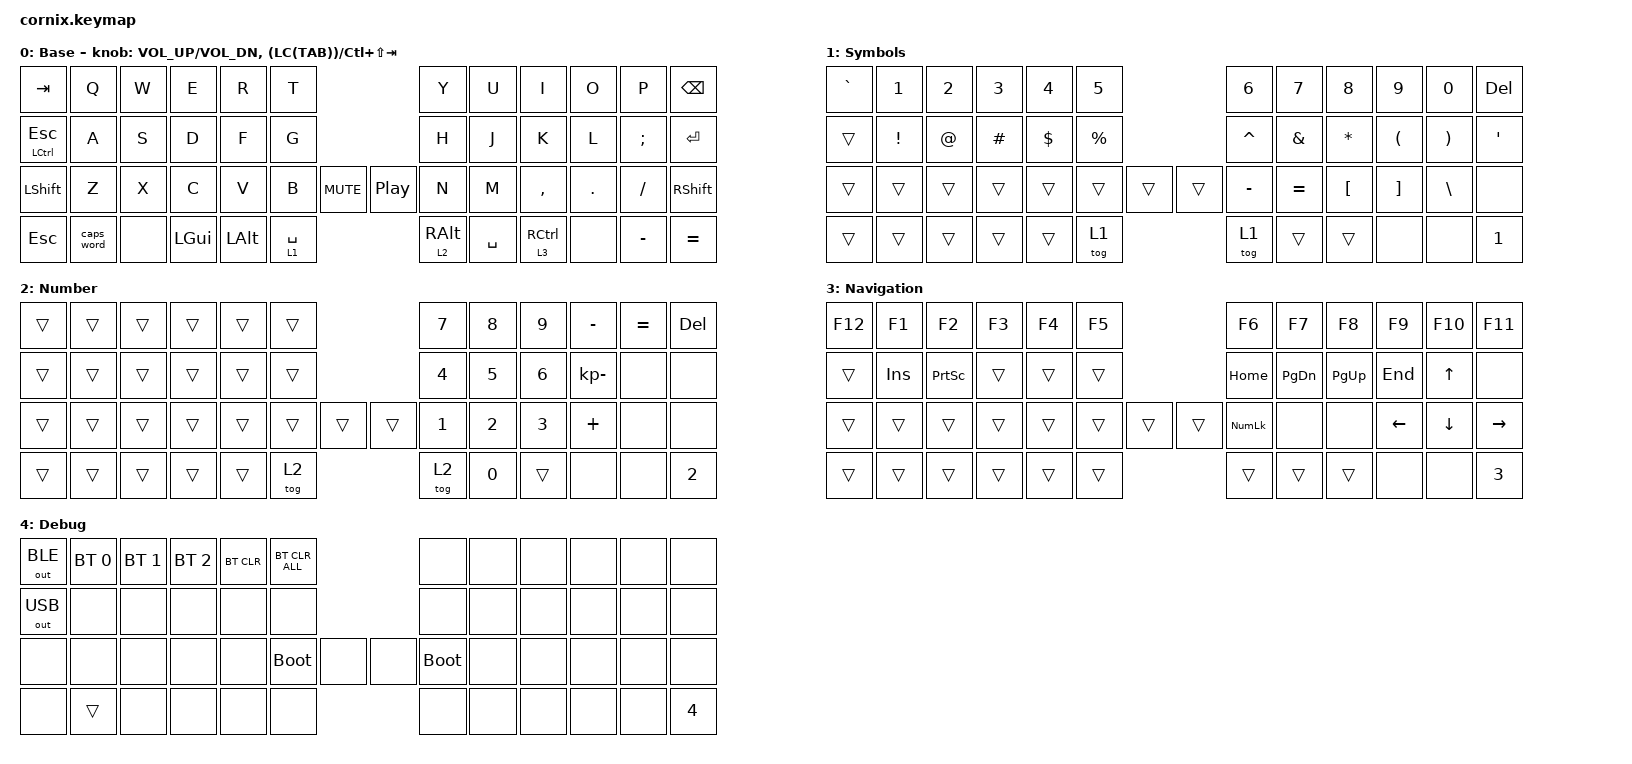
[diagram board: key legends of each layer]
/*
 * Copyright (c) 2020 The ZMK Contributors
 *
 * SPDX-License-Identifier: MIT
 */

#include <behaviors.dtsi>
#include <dt-bindings/zmk/bt.h>
#include <dt-bindings/zmk/keys.h>
#include <dt-bindings/zmk/outputs.h>

#define MO_TOG(layer) &mo_tog layer layer   // Macro to apply momentary-layer-on-hold/toggle-layer-on-tap to a specific layer

#define BASE  0
#define SYM   1
#define NUM   2
#define NAV   3
#define DEBUG 4
#define RES1  5
#define RES2  6
#define RES3  7

&lt { flavor = "hold-preferred"; };

/ {
    behaviors {
        mo_tog: behavior_mo_tog {
            compatible = "zmk,behavior-hold-tap";
            #binding-cells = <2>;
            flavor = "hold-preferred";
            tapping-term-ms = <200>;
            bindings = <&mo>, <&tog>;
        };
    };

    conditional_layers { compatible = "zmk,conditional-layers"; };

    combos {
        compatible = "zmk,combos";

        // < 0  1  2  3  4  5        6  7  8  9 10 11>
        // <12 13 14 15 16 17       18 19 20 21 22 23>
        // <24 25 26 27 28 29 30 31 32 33 34 35 36 37>
        // <38 39 40 41 42 43       44 45 46 47 48 49>

        // Regular key combos
        right_b {
            bindings = <&kp B>;
            key-positions = <32 33>;
        };

        capslock_combo {
            bindings = <&kp CAPSLOCK>;
            key-positions = <24 37>;
            layers = <BASE>;
        };

        // Layer modification
        to_base {
            bindings = <&to BASE>;
            key-positions = <16 19>;
        };

        to_nav {
            bindings = <&mo NAV>;
            key-positions = <44 43>;
        };

        to_debug {
            bindings = <&to DEBUG>;
            key-positions = <17 18>;
            layers = <NAV>;
        };
    };

    macros {
    };

    keymap {
        compatible = "zmk,keymap";

        default_layer {
            display-name = "Base";

            // ------------------------------------------------------------------------------------------------------------
            // |  TAB  |  Q  |  W  |  E  |  R  |  T  |                   |  Y   |  U  |  I  |  O  |   P   | BKSPC |
            // | LCTRL |  A  |  S  |  D  |  F  |  G  |                   |  H   |  J  |  K  |  L  |   ;   | ENTER |
            // | SHIFT |  Z  |  X  |  C  |  V  |  B  |  MUTE  |  | PAUSE |  N   |  M  |  ,  |  .  |   /   | SHIFT |
            // |  ESC  |  _  |  _  |=====|  _  |  _  |  LT(1) |  | LT(2) |  _   |  _  |=====|  _  |   _   |   _   |

            bindings = <
&kp TAB         &kp Q       &kp W  &kp E     &kp R     &kp T                                      &kp Y            &kp U      &kp I        &kp O    &kp P      &kp BACKSPACE
&mt LCTRL ESC   &kp A       &kp S  &kp D     &kp F     &kp G                                      &kp H            &kp J      &kp K        &kp L    &kp SEMI   &kp ENTER
&kp LEFT_SHIFT  &kp Z       &kp X  &kp C     &kp V     &kp B        &kp C_MUTE  &kp C_PLAY_PAUSE  &kp N            &kp M      &kp COMMA    &kp DOT  &kp FSLH   &kp RSHFT
&kp ESC         &caps_word  &none  &kp LGUI  &kp LALT  &lt 1 SPACE                                &lt 2 RIGHT_ALT  &kp SPACE  &lt 3 RCTRL  &none    &kp MINUS  &kp EQUAL
            >;

            sensor-bindings =
                <&inc_dec_kp C_VOL_UP C_VOL_DN>,
                <&inc_dec_kp (LC(TAB)) LC(LS(TAB))>;
        };

        Symbol_layer {
            display-name = "Symbols";
            bindings = <
                &kp GRAVE  &kp NUMBER_1  &kp NUMBER_2  &kp NUMBER_3  &kp NUMBER_4  &kp NUMBER_5                  &kp NUMBER_6  &kp NUMBER_7  &kp NUMBER_8      &kp NUMBER_9       &kp NUMBER_0   &kp DELETE
                &trans     &kp EXCL      &kp AT        &kp HASH      &kp DLLR      &kp PRCNT                     &kp CARET     &kp AMPS      &kp ASTRK         &kp LPAR           &kp RPAR       &kp SINGLE_QUOTE
                &trans     &trans        &trans        &trans        &trans        &trans        &trans  &trans  &kp MINUS     &kp EQUAL     &kp LEFT_BRACKET  &kp RIGHT_BRACKET  &kp BACKSLASH  &none
                &trans     &trans        &trans        &trans        &trans        &tog 1                        &tog 1        &trans        &trans            &none              &none          &kp N1
            >;
        };

        Num_layer {
            display-name = "Number";
            bindings = <
                &trans  &trans  &trans  &trans  &trans  &trans                  &kp N7  &kp N8  &kp N9  &kp MINUS     &kp EQUAL  &kp DELETE
                &trans  &trans  &trans  &trans  &trans  &trans                  &kp N4  &kp N5  &kp N6  &kp KP_MINUS  &none      &none
                &trans  &trans  &trans  &trans  &trans  &trans  &trans  &trans  &kp N1  &kp N2  &kp N3  &kp PLUS      &none      &none
                &trans  &trans  &trans  &trans  &trans  &tog 2                  &tog 2  &kp N0  &trans  &none         &none      &kp N2
            >;
        };

        Nav_layer {
            display-name = "Navigation";
            bindings = <
                &kp F12  &kp F1      &kp F2           &kp F3  &kp F4  &kp F5                  &kp F6          &kp F7     &kp F8     &kp F9    &kp F10   &kp F11
                &trans   &kp INSERT  &kp PRINTSCREEN  &trans  &trans  &trans                  &kp HOME        &kp PG_DN  &kp PG_UP  &kp END   &kp UP    &none
                &trans   &trans      &trans           &trans  &trans  &trans  &trans  &trans  &kp KP_NUMLOCK  &none      &none      &kp LEFT  &kp DOWN  &kp RIGHT
                &trans   &trans      &trans           &trans  &trans  &trans                  &trans          &trans     &trans     &none     &none     &kp N3
            >;
        };

        Debug_layer {
            display-name = "Debug";
            bindings = <
                &out OUT_BLE  &bt BT_SEL 0  &bt BT_SEL 1  &bt BT_SEL 2  &bt BT_CLR  &bt BT_CLR_ALL                &none        &none  &none  &none  &none  &none
                &out OUT_USB  &none         &none         &none         &none       &none                         &none        &none  &none  &none  &none  &none
                &none         &none         &none         &none         &none       &bootloader     &none  &none  &bootloader  &none  &none  &none  &none  &none
                &none         &trans        &none         &none         &none       &none                         &none        &none  &none  &none  &none  &kp N4
            >;
        };

        Extra_layer1 { status = "reserved"; };
        Extra_layer2 { status = "reserved"; };
        Extra_layer3 { status = "reserved"; };
    };
};
